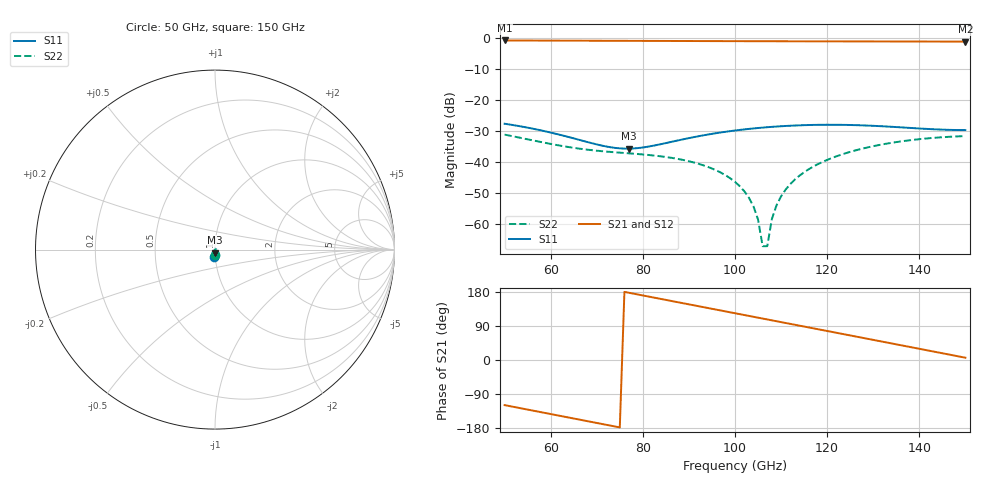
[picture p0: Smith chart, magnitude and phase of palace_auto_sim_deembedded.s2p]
! Created with skrf 1.11.0 (http://scikit-rf.org).
# GHz S DB R 50.0
!freq dBS11 angS11 dBS21 angS21 dBS12 angS12 dBS22 angS22
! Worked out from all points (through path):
!   101 points, 50 GHz to 150 GHz, reference 50 ohm
!   highest |S21| = -0.69 dB at 50 GHz (marker M1); lowest = -1.1 dB at 150 GHz (marker M2)
!   group delay of S21, straight-line fit = 6.52 ps
!   lowest |S11| = -35.7 dB at 77 GHz (marker M3), VSWR 1.03, Z = 50.1 - j1.63 ohm
!   |S11| at or under -10 dB: start of sweep to end of sweep
!   |S22| runs from -67.3 to -31.2 dB; largest |S21 - S12| = 1.1e-14
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50  -27.66 -95.7  -0.69 -119.1  -0.69 -119.1  -31.19 -85.9
59  -30.18 -107.3  -0.73 -140.3  -0.73 -140.3  -33.92 -92.1
67  -33.21 -108.0  -0.77 -159.1  -0.77 -159.1  -35.89 -92.1
77  -35.73 -84.7  -0.81 177.4  -0.81 177.4  -37.26 -93.4
84  -34.26 -67.5  -0.85 160.9  -0.85 160.9  -38.25 -99.7
93  -31.46 -63.2  -0.89 139.8  -0.89 139.8  -41.07 -114.1
97  -30.48 -64.9  -0.91 130.4  -0.91 130.4  -43.56 -121.9
100  -29.87 -66.9  -0.92 123.4  -0.92 123.4  -46.51 -127.8
102  -29.51 -68.4  -0.93 118.7  -0.93 118.7  -49.50 -131.4
104  -29.19 -70.1  -0.93 114.0  -0.93 114.0  -54.41 -133.6
105  -29.05 -71.0  -0.94 111.7  -0.94 111.7  -58.70 -132.3
106  -28.92 -71.9  -0.94 109.4  -0.94 109.4  -67.33 -117.8
107  -28.80 -72.8  -0.94 107.0  -0.94 107.0  -67.32 7.2
108  -28.68 -73.7  -0.95 104.7  -0.95 104.7  -58.54 21.8
109  -28.58 -74.7  -0.95 102.3  -0.95 102.3  -54.13 23.0
110  -28.48 -75.6  -0.95 100.0  -0.95 100.0  -51.19 22.2
113  -28.24 -78.5  -0.96 93.0  -0.96 93.0  -45.74 16.6
117  -28.05 -82.3  -0.97 83.6  -0.97 83.6  -41.54 7.2
124  -28.05 -88.5  -0.99 67.2  -0.99 67.2  -37.23 -10.4
134  -28.66 -94.2  -1.02 43.7  -1.02 43.7  -33.85 -37.2
142  -29.37 -94.0  -1.04 24.9  -1.04 24.9  -32.38 -60.1
150  -29.72 -89.4  -1.06 6.1  -1.06 6.1  -31.68 -84.7
